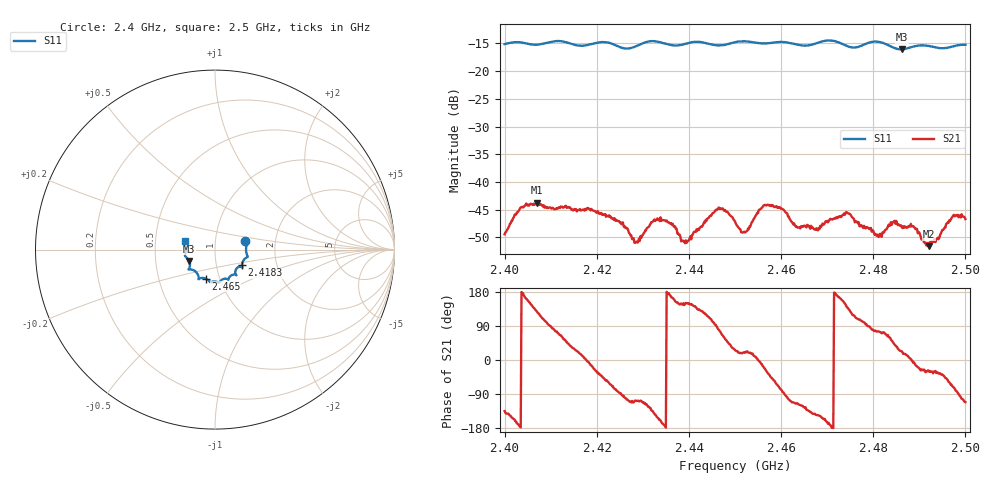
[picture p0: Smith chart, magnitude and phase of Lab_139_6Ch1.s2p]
# Hz S RI R 50
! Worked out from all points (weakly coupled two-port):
!   601 points, 2.4 GHz to 2.5 GHz, reference 50 ohm
!   highest |S21| = -43.74 dB at 2.407 GHz (marker M1); lowest = -51.6 dB at 2.492 GHz (marker M2)
!   lowest |S11| = -16.1 dB at 2.4862 GHz (marker M3), VSWR 1.37, Z = 37.2 - j4.85 ohm
!   |S11| at or under -10 dB: start of sweep to end of sweep
!   S12 and S22 are empty: the file has one direction only
!   S11 on the Smith chart (normalised r, x): 2.4 GHz: 1.40, +0.14; 2.4183 GHz: 1.33, -0.24; 2.465 GHz: 0.86, -0.28; 2.5 GHz: 0.71, +0.07
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2.4e9  0.1685 0.0474  -0.00238 -0.0024  0 0  0 0
2.403333e9  0.1791 0.0318  -0.00577 -0.000471  0 0  0 0
2.407e9  0.1728 -0.00317  -0.00402 0.00511  0 0  0 0
2.416667e9  0.1547 -0.0684  0.00542 0.00128  0 0  0 0
2.418333e9  0.1499 -0.087  0.00565 -0.000739  0 0  0 0
2.425167e9  0.1325 -0.096  0.000203 -0.00434  0 0  0 0
2.4285e9  0.1128 -0.1238  -0.000909 -0.00274  0 0  0 0
2.433333e9  0.1176 -0.1412  -0.00406 -0.00206  0 0  0 0
2.439333e9  0.0771 -0.1589  -0.00259 0.00147  0 0  0 0
2.446333e9  0.0507 -0.1629  0.00086 0.00571  0 0  0 0
2.45e9  0.0264 -0.1804  0.00395 0.00197  0 0  0 0
2.452167e9  0.0213 -0.1844  0.00331 0.00117  0 0  0 0
2.456833e9  -0.00818 -0.1777  0.00534 -0.00305  0 0  0 0
2.465e9  -0.0523 -0.1615  -0.0023 -0.00333  0 0  0 0
2.466667e9  -0.0712 -0.1576  -0.00296 -0.00248  0 0  0 0
2.474167e9  -0.0952 -0.1398  -0.00423 0.00332  0 0  0 0
2.480833e9  -0.1476 -0.1106  0.000852 0.00315  0 0  0 0
2.483333e9  -0.141 -0.0963  0.00203 0.0036  0 0  0 0
2.486167e9  -0.1435 -0.0636  0.00362 0.00155  0 0  0 0
2.492e9  -0.1661 -0.0287  0.00234 -0.00123  0 0  0 0
2.4975e9  -0.1649 0.0315  0.00152 -0.00482  0 0  0 0
2.5e9  -0.1665 0.0469  -0.00168 -0.00432  0 0  0 0
